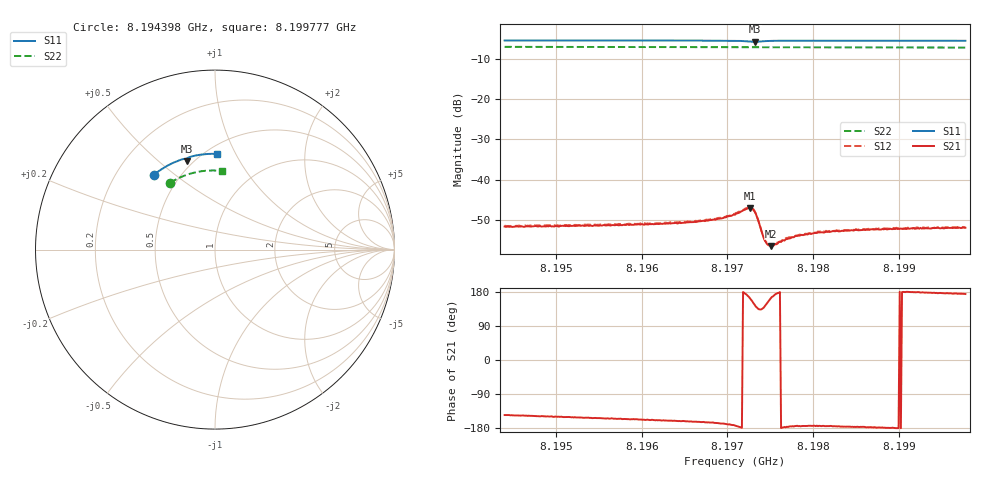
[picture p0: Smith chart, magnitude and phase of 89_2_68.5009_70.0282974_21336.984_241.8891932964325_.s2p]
#  HZ  S  RI  R  50.00
! Rohde & Schwarz Vector Network Analyzer
! Rohde-Schwarz,ZNB20-2Port,1311601062101988,3.16
! Created: UTC 3/20/2024, 4:52:35 PM
! freq[Hz]  re:S11  im:S11  re:S21  im:S21  re:S12  im:S12  re:S22  im:S22
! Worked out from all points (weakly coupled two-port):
!   401 points, 8.194398 GHz to 8.199777 GHz, reference 50 ohm
!   highest |S21| = -47.10 dB at 8.197263 GHz (marker M1); lowest = -56.5 dB at 8.197505 GHz (marker M2)
!   lowest |S11| = -5.7 dB at 8.197316 GHz (marker M3), VSWR 3.15, Z = 23.1 + j31.2 ohm
!   |S11| at or under -10 dB: nowhere
!   |S22| runs from -7.1 to -7.0 dB; largest |S21 - S12| = 0.00024
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8.1943984e9  -0.342 0.4158  -0.00214 -0.00148  -0.00222 -0.00147  -0.25 0.3723
8.1952993e9  -0.2901 0.4529  -0.00236 -0.00126  -0.00245 -0.00119  -0.2061 0.3965
8.1962003e9  -0.2336 0.4834  -0.0026 -0.00101  -0.0027 -0.00092  -0.1596 0.416
8.1967516e9  -0.1962 0.4986  -0.00297 -0.000826  -0.00309 -0.000715  -0.1302 0.4251
8.1969534e9  -0.1813 0.5033  -0.00325 -0.000706  -0.00337 -0.000576  -0.1192 0.428
8.1970878e9  -0.1699 0.5054  -0.00362 -0.000442  -0.00375 -0.000292  -0.1117 0.4297
8.1972223e9  -0.1571 0.5024  -0.00428 0.000544  -0.00434 0.000772  -0.1045 0.4311
8.1972626e9  -0.1545 0.4988  -0.00422 0.0013  -0.00425 0.00147  -0.1023 0.4316
8.1972895e9  -0.1546 0.4961  -0.00388 0.00182  -0.00388 0.00206  -0.1007 0.4318
8.1973164e9  -0.1565 0.494  -0.00331 0.00223  -0.00326 0.00242  -0.0993 0.432
8.1973433e9  -0.1592 0.494  -0.00257 0.0023  -0.0025 0.00242  -0.098 0.4324
8.1974106e9  -0.1616 0.5005  -0.00148 0.00143  -0.00142 0.0015  -0.0944 0.4334
8.1974375e9  -0.1605 0.5034  -0.00138 0.00106  -0.00133 0.00113  -0.093 0.4335
8.1974644e9  -0.1589 0.5057  -0.00136 0.000778  -0.00137 0.000854  -0.0915 0.4339
8.1975047e9  -0.1557 0.5085  -0.00143 0.000443  -0.00143 0.000525  -0.0891 0.4343
8.1975585e9  -0.1514 0.5113  -0.00157 0.000179  -0.00156 0.000248  -0.0862 0.4347
8.1977064e9  -0.1396 0.5162  -0.00183 -0.000102  -0.00188 -3.5e-05  -0.0779 0.4362
8.197814e9  -0.1316 0.5187  -0.00198 -0.000222  -0.00199 -0.000121  -0.0719 0.437
8.1979888e9  -0.1188 0.5217  -0.00212 -0.000227  -0.00216 -0.000141  -0.062 0.4382
8.1982578e9  -0.0995 0.5256  -0.00226 -0.000207  -0.00229 -0.000134  -0.047 0.4397
8.1988898e9  -0.0546 0.5317  -0.00242 -2.98e-05  -0.00246 6.11e-05  -0.0112 0.4409
8.1997773e9  0.0087 0.5334  -0.0025 0.000254  -0.00251 0.000391  0.0389 0.4376
